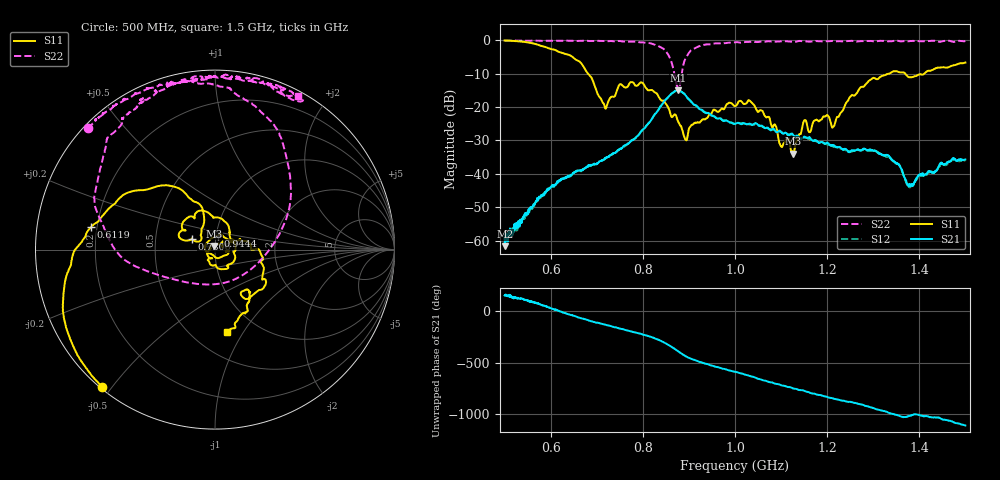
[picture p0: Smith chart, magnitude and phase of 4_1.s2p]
!Agilent Technologies,E8364B,US42250235,A.06.04.32
!Agilent E8364B: A.06.04.32
!Date: Friday, January 15, 2021 16:09:58
!Correction: S11(Full 2 Port(1,2)) S21(Full 2 Port(1,2)) S12(Full 2 Port(1,2)) S22(Full 2 Port(1,2))
!S2P File: Measurements: S11, S21, S12, S22:
# Hz S  dB  R 50
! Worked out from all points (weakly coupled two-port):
!   1601 points, 500 MHz to 1.5 GHz, reference 50 ohm
!   highest |S21| = -14.94 dB at 876.2 MHz (marker M1); lowest = -61.6 dB at 500.6 MHz (marker M2)
!   lowest |S11| = -33.9 dB at 1.126 GHz (marker M3), VSWR 1.04, Z = 49.5 + j1.94 ohm
!   |S11| at or under -10 dB: 681.2 MHz to 1.335 GHz (653.9 MHz wide, 64.9 % of centre); 1.369 GHz to 1.411 GHz (41.58 MHz wide, 2.99 % of centre)
!   |S22| runs from -14.4 to -0.1 dB; largest |S21 - S12| = 0.0047
!   S11 on the Smith chart (normalised r, x): 500 MHz: 0.01, -0.47; 611.9 MHz: 0.18, +0.09; 730.6 MHz: 0.77, +0.09; 944.4 MHz: 1.02, +0.16; 1.5 GHz: 0.73, -0.85
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5e8  -0.10 -129.5  -59.02 149.6  -59.69 145.6  -0.16 136.3
5.00625e8  -0.10 -129.7  -61.60 147.4  -58.58 162.4  -0.16 136.2
6.11875e8  -3.08 169.7  -42.99 13.0  -42.90 9.7  -0.17 124.2
6.66875e8  -7.01 126.7  -38.95 -72.0  -38.92 -73.4  -0.21 116.6
7.1625e8  -19.39 136.1  -35.65 -129.7  -35.60 -131.7  -0.26 112.0
7.30625e8  -17.04 155.7  -34.22 -147.5  -34.38 -148.5  -0.26 108.5
7.75625e8  -12.59 134.5  -29.96 159.4  -29.90 158.2  -0.45 98.0
8.3375e8  -16.81 57.4  -20.82 81.0  -20.82 79.9  -1.78 72.3
8.60625e8  -22.38 8.3  -16.18 16.7  -16.27 16.3  -5.97 33.1
8.7625e8  -24.20 -32.1  -14.94 -30.1  -15.01 -30.8  -14.27 -68.3
9.00625e8  -26.33 -165.4  -17.82 -95.1  -17.76 -97.0  -3.69 166.0
9.44375e8  -22.22 79.0  -21.92 -163.2  -22.11 -163.2  -1.29 130.8
1e9  -19.72 -6.1  -25.05 131.0  -24.96 130.6  -0.61 115.5
1.034375e9  -18.39 -65.3  -25.10 86.0  -25.23 86.0  -0.50 110.4
1.12625e9  -33.90 103.9  -28.36 -32.0  -28.38 -30.9  -0.46 97.9
1.15e9  -24.09 46.5  -28.86 -53.9  -29.14 -57.1  -0.40 97.1
1.166875e9  -25.71 29.2  -29.86 -79.7  -29.84 -77.8  -0.41 91.7
1.213125e9  -25.94 17.0  -31.43 -128.0  -31.86 -129.0  -0.30 90.4
1.25125e9  -16.78 22.0  -33.19 -162.5  -33.33 -165.0  -0.21 85.7
1.33375e9  -10.06 -31.8  -34.70 92.3  -34.86 92.6  -0.36 77.4
1.380625e9  -11.13 -57.0  -43.48 64.9  -43.62 64.5  -0.27 71.4
1.5e9  -6.71 -81.5  -35.69 -30.0  -36.16 -32.1  -0.26 61.7
